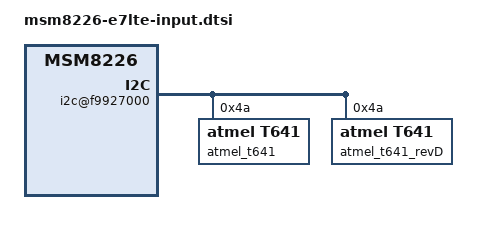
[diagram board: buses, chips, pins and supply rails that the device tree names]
/* Copyright (c) 2013, LGE Electronics. All rights reserved.
 *
 * This program is free software; you can redistribute it and/or modify
 * it under the terms of the GNU General Public License version 2 and
 * only version 2 as published by the Free Software Foundation.
 *
 * This program is distributed in the hope that it will be useful,
 * but WITHOUT ANY WARRANTY; without even the implied warranty of
 * MERCHANTABILITY or FITNESS FOR A PARTICULAR PURPOSE.  See the
 * GNU General Public License for more details.
 */

&soc {
	i2c@f9927000 { /* BLSP1 QUP5 */
		atmel_t641@4a {									/*touch ic I2C bus adddress*/
			revision = "rev_a...rev_c";						/*board version */
			compatible = "atmel,t641";						/*dtsi name*/
			status = "ok";								/*OK-used*/
			reg = <0x4a>;								/*touch ic I2C bus adddress 0x4a -> @4a*/
			atmel,fw_name = "atmel/E7_0_53.fw";
		};

		atmel_t641_revD@4a {								/*touch ic I2C bus adddress*/
			revision = "rev_d...";							/*board version */
			compatible = "atmel,t641";						/*dtsi name*/
			status = "ok";								/*OK-used*/
			reg = <0x4a>;								/*touch ic I2C bus adddress 0x4a -> @4a*/
			atmel,fw_name = "atmel/E7_0_65.fw";
		};

	};
};
